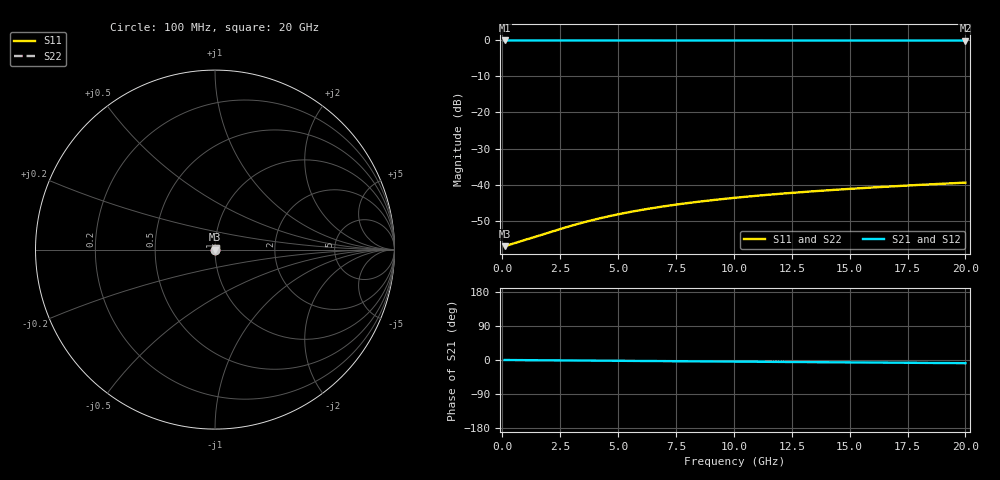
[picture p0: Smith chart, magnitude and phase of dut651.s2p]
! Touchstone file exported from HFSS 2026.1.0
!  File:  C:/ffzhzh/LocalFiles/Ansys_Project_Files/temp_train_TSV_651_1783026653_46388.aedt
!  Generated:  05:13:47 AM Jul  3, 2026
!  Design:  TSV
!  Project:  temp_train_TSV_651_1783026653_46388
! Variables:
!  h_bsmrdl = 2um
!  h_ox = 20um
!  h_rdl = 5um
!  h_sub = 92.35um
!  h_tmrdl = 5um
!  h_tsv = 92.35um
!  h_via = 3um
!  l_bsmrdl = 300um
!  l_sub = 405.54um
!  l_tmrdl = 200um
!  m_sub = 200um
!  pitch = 12.44um
!  r_tsv = 2.77um
!  s_tmrdl = 10um
!  w_bsmrdl = 18um
!  w_sub = 500um
!  w_tmrdl = 12um
!  x_tsv_center1 = 206um
!  x_tsv_center2 = 524um
!  x_tsv_center3 = 736um
!  x_tsv_center4 = 1054um
!  x_tsv_center5 = 1266um
!  x_tsv_center6 = 1584um
# GHz S MA R 50.000000
! Terminal data exported
! Port[1] = TSV1_1_T1
! Port[2] = TSV1_1_T2
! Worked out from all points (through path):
!   200 points, 100 MHz to 20 GHz, reference 50 ohm
!   highest |S21| = -0.01 dB at 100 MHz (marker M1); lowest = 0.0 dB at 20 GHz (marker M2)
!   group delay of S21, straight-line fit = 1.16 ps
!   lowest |S11| = -57.1 dB at 100 MHz (marker M3), VSWR 1.00, Z = 50.1 + j0.00969 ohm
!   |S11| at or under -10 dB: start of sweep to end of sweep
!   |S22| runs from -57.1 to -39.5 dB; largest |S21 - S12| = 4.5e-15
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0.1  0.001397 4.0  0.9986 -0.0  0.9986 -0.0  0.001397 4.0
! Gamma 0 0 0 0
! Port Impedance 50 0 50 0
0.2  0.001421 7.6  0.9986 -0.1  0.9986 -0.1  0.001421 7.6
0.6  0.001564 18.1  0.9985 -0.3  0.9985 -0.3  0.001564 18.1
1.3  0.00183 30.7  0.9984 -0.6  0.9984 -0.6  0.00183 30.7
2.6  0.00247 45.6  0.9983 -1.1  0.9983 -1.1  0.00247 45.6
3.1  0.002751 49.0  0.9982 -1.3  0.9982 -1.3  0.002751 49.0
3.5  0.002983 51.1  0.9982 -1.5  0.9982 -1.5  0.002983 51.1
3.9  0.003218 52.7  0.9981 -1.7  0.9981 -1.7  0.003218 52.7
4.3  0.003453 54.0  0.9981 -1.8  0.9981 -1.8  0.003453 54.0
5.1  0.003923 55.9  0.9979 -2.2  0.9979 -2.2  0.003923 55.9
5.9  0.004385 57.0  0.9978 -2.5  0.9978 -2.5  0.004385 57.0
6.8  0.00489 57.7  0.9976 -2.9  0.9976 -2.9  0.00489 57.7
7.5  0.005269 58.1  0.9975 -3.2  0.9975 -3.2  0.005269 58.1
8.3  0.005689 58.2  0.9973 -3.5  0.9973 -3.5  0.005689 58.2
9.2  0.006144 58.3  0.9971 -3.9  0.9971 -3.9  0.006144 58.3
10.1  0.006581 58.2  0.9969 -4.3  0.9969 -4.3  0.006581 58.2
11.7  0.007318 58.0  0.9966 -4.9  0.9966 -4.9  0.007318 58.0
13.4  0.008056 57.7  0.9964 -5.6  0.9964 -5.6  0.008056 57.7
15  0.008716 57.4  0.9961 -6.3  0.9961 -6.3  0.008716 57.4
16.7  0.00939 57.1  0.9959 -7.0  0.9959 -7.0  0.00939 57.1
18.3  0.01 56.8  0.9956 -7.7  0.9956 -7.7  0.01 56.8
20  0.01064 56.5  0.9954 -8.4  0.9954 -8.4  0.01064 56.5
